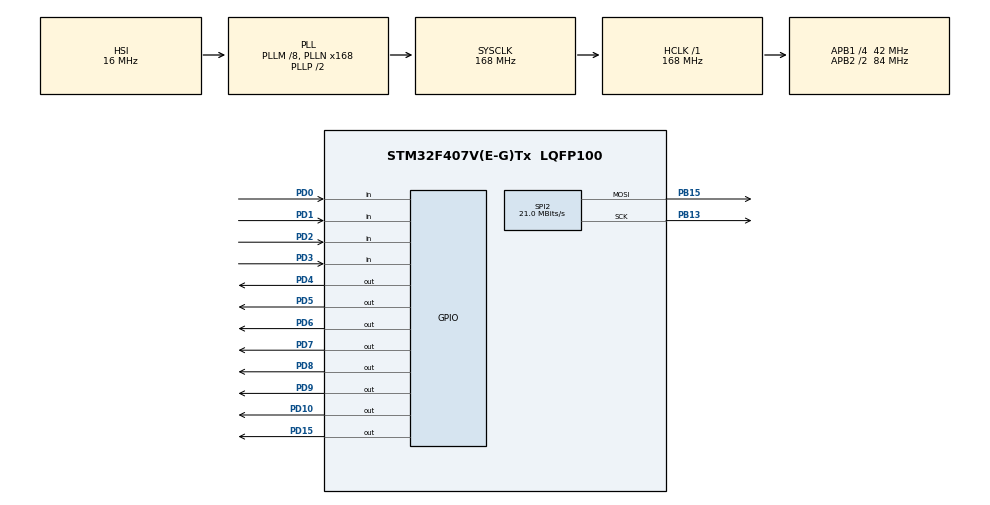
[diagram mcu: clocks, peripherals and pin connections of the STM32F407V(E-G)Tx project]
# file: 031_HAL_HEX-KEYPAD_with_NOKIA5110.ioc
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Dma.Request0=SPI2_TX
Dma.SPI2_TX.0.Direction=DMA_MEMORY_TO_PERIPH
Dma.SPI2_TX.0.FIFOMode=DMA_FIFOMODE_DISABLE
Dma.SPI2_TX.0.Instance=DMA1_Stream4
Dma.SPI2_TX.0.MemDataAlignment=DMA_MDATAALIGN_BYTE
Dma.SPI2_TX.0.MemInc=DMA_MINC_ENABLE
Dma.SPI2_TX.0.Mode=DMA_NORMAL
Dma.SPI2_TX.0.PeriphDataAlignment=DMA_PDATAALIGN_BYTE
Dma.SPI2_TX.0.PeriphInc=DMA_PINC_DISABLE
Dma.SPI2_TX.0.Priority=DMA_PRIORITY_LOW
Mcu.Family=STM32F4
Mcu.Name=STM32F407V(E-G)Tx
Mcu.Package=LQFP100
NVIC.DMA1_Stream4_IRQn=true\:0\:0\:false\:false\:true\:false\:true\:true
NVIC.PriorityGroup=NVIC_PRIORITYGROUP_0
PB13.Mode=TX_Only_Simplex_Unidirect_Master
PB13.Signal=SPI2_SCK
PB15.Mode=TX_Only_Simplex_Unidirect_Master
PB15.Signal=SPI2_MOSI
PD0.Signal=GPIO_Input
PD1.Signal=GPIO_Input
PD10.Signal=GPIO_Output
PD15.Signal=GPIO_Output
PD2.Signal=GPIO_Input
PD3.Signal=GPIO_Input
PD4.Signal=GPIO_Output
PD5.Signal=GPIO_Output
PD6.Signal=GPIO_Output
PD7.Signal=GPIO_Output
PD8.Signal=GPIO_Output
PD9.Signal=GPIO_Output
ProjectManager.HeapSize=0x200
ProjectManager.StackSize=0x400
ProjectManager.TargetToolchain=STM32CubeIDE
RCC.48MHZClocksFreq_Value=48000000
RCC.AHBFreq_Value=168000000
RCC.APB1CLKDivider=RCC_HCLK_DIV4
RCC.APB1Freq_Value=42000000
RCC.APB1TimFreq_Value=84000000
RCC.APB2CLKDivider=RCC_HCLK_DIV2
RCC.APB2Freq_Value=84000000
RCC.APB2TimFreq_Value=168000000
RCC.CortexFreq_Value=168000000
RCC.HCLKFreq_Value=168000000
RCC.HSE_VALUE=8000000
RCC.HSI_VALUE=16000000
RCC.LSE_VALUE=32768
RCC.PLLM=8
RCC.PLLN=168
RCC.PLLQ=7
RCC.SYSCLKFreq_VALUE=168000000
RCC.SYSCLKSource=RCC_SYSCLKSOURCE_PLLCLK
RCC.VCOOutputFreq_Value=336000000
SPI2.CalculateBaudRate=21.0 MBits/s
SPI2.Direction=SPI_DIRECTION_2LINES
SPI2.Mode=SPI_MODE_MASTER
SPI2.VirtualType=VM_MASTER
board=STM32F407G-DISC1

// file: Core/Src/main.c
/* USER CODE BEGIN Header */
/**
  ******************************************************************************
  * @file           : main.c
  * @brief          : Main program body
  ******************************************************************************
  * @attention
  *
  * Copyright (c) 2023 STMicroelectronics.
  * All rights reserved.
  *
  * This software is licensed under terms that can be found in the LICENSE file
  * in the root directory of this software component.
  * If no LICENSE file comes with this software, it is provided AS-IS.
  *
  ******************************************************************************
  */
/* USER CODE END Header */
#include "main.h"

/* USER CODE BEGIN Includes */
#include "stdbool.h"
#include "nokia5110.h"
#include "keypad4x3.h"
/* USER CODE END Includes */

/* USER CODE BEGIN PD */
#define KEYPAD_IN_PORT   GPIOD
#define KEYPAD_OUT_PORT  GPIOD

#define KEYPAD_IN_PIN_0  GPIO_PIN_0
#define KEYPAD_IN_PIN_1  GPIO_PIN_1
#define KEYPAD_IN_PIN_2  GPIO_PIN_2
#define KEYPAD_IN_PIN_3  GPIO_PIN_3

#define KEYPAD_OUT_PIN_0 GPIO_PIN_4
#define KEYPAD_OUT_PIN_1 GPIO_PIN_5
#define KEYPAD_OUT_PIN_2 GPIO_PIN_6
/* USER CODE END PD */

SPI_HandleTypeDef hspi2;
DMA_HandleTypeDef hdma_spi2_tx;

/* USER CODE BEGIN PV */
Keypad4x3_WiresTypeDef keypadWires;
bool keys[12];
char key1, key2, key3, key4, key5, key6, key7, key8, key9, keyS, key0, keyY;
char correctPassword[] = {2, 3, 4, 5};
char enteredPassword[4] = {0};
int passwordIndex = 0;

uint8_t frameBuff[504];
/* USER CODE END PV */

void SystemClock_Config(void);
static void MX_GPIO_Init(void);
static void MX_DMA_Init(void);
static void MX_SPI2_Init(void);
/* USER CODE BEGIN PFP */
bool checkPassword(char password[]);
/* USER CODE END PFP */

int main(void)
{

  /* MCU Configuration--------------------------------------------------------*/

  /* Reset of all peripherals, Initializes the Flash interface and the Systick. */
  HAL_Init();

  /* Configure the system clock */
  SystemClock_Config();

  /* Initialize all configured peripherals */
  MX_GPIO_Init();
  MX_DMA_Init();
  MX_SPI2_Init();
  /* USER CODE BEGIN 2 */
  keypadWires.IN_Port = KEYPAD_IN_PORT;
  keypadWires.IN_PIN_0 = KEYPAD_IN_PIN_0;
  keypadWires.IN_PIN_1 = KEYPAD_IN_PIN_1;
  keypadWires.IN_PIN_2 = KEYPAD_IN_PIN_2;
  keypadWires.IN_PIN_3 = KEYPAD_IN_PIN_3;

  keypadWires.OUT_Port = KEYPAD_OUT_PORT;
  keypadWires.OUT_PIN_0 = KEYPAD_OUT_PIN_0;
  keypadWires.OUT_PIN_1 = KEYPAD_OUT_PIN_1;
  keypadWires.OUT_PIN_2 = KEYPAD_OUT_PIN_2;

  Keypad4x3_Init(&keypadWires);
  nokia5110_Init();
  HAL_GPIO_WritePin(GPIOD, GPIO_PIN_15, GPIO_PIN_SET);
  bool keys[12] = {false};
  nokia5110_WriteString("password");
  nokia5110_Update();
  /* USER CODE END 2 */

  /* Infinite loop */
  while (1)
  {

    /* USER CODE BEGIN 3 */
	  Keypad4x3_ReadKeypad(keys);
	  key1 = keys[0];
	  key2 = keys[4];
	  key3 = keys[8];
	  key4 = keys[2];
	  key5 = keys[6];
	  key6 = keys[10];
	  key7 = keys[1];
	  key8 = keys[5];
	  key9 = keys[9];
	  keyY = keys[3];
	  key0 = keys[7];
	  keyS = keys[11];

	  char Keys[12] ={key1,key2,key3,key4,key5,key6,key7,key8,key9,keyY,key0,keyS};

	    if (Keys[0] || Keys[1] || Keys[2] || Keys[3] || Keys[4] || Keys[5] ||
	        Keys[6] || Keys[7] || Keys[8] || Keys[9] || Keys[10] || Keys[11])
	    {

	      for (int i = 0; i < 12; i++)
	      {
	        if (Keys[i])
	        {
	          enteredPassword[passwordIndex] = i + 1; // +1 because the keypad numbers start from 1
	          passwordIndex += 1;
	          break;
	        }
	      }

	      if (passwordIndex > 0 && passwordIndex < 4)
	             {
	                 char passwordString[5]; // Şifre 4 basamaklı ve son karakter için '\0' gerekiyor
	                 for (int i = 0; i < passwordIndex; i++)
	                 {
	                     passwordString[i] = enteredPassword[i] + '0'; // Karakter dizisi olarak dönüştür
	                 }
	                 passwordString[passwordIndex] = '\0'; // Son karakteri '\0' olarak ayarla

	                 displayPassword(passwordString, passwordIndex);

	             }

	      // Check if the full password has been entered
	      if (passwordIndex == 4)
	      {

	        // Check the entered password with the correct password
	        if (checkPassword(enteredPassword))
	        {

	          nokia5110_WriteString("SUCCESS");
	        }
	        else
	        {

	          nokia5110_WriteString("FAIL");
	        }

	        nokia5110_Update(); // Update the LCD screen
	        HAL_Delay(2000); // Wait for a short duration before resetting the password entry
	        passwordIndex = 0; // Reset the password entry for the next attempt
	        nokia5110_Clear(); // Clear the LCD screen after displaying the result
	        HAL_Delay(5000);
	        nokia5110_Update();
	      }
	    }
  }

  /* USER CODE END 3 */
}

void SystemClock_Config(void)
{
  RCC_OscInitTypeDef RCC_OscInitStruct = {0};
  RCC_ClkInitTypeDef RCC_ClkInitStruct = {0};

  /** Configure the main internal regulator output voltage
  */
  __HAL_RCC_PWR_CLK_ENABLE();
  __HAL_PWR_VOLTAGESCALING_CONFIG(PWR_REGULATOR_VOLTAGE_SCALE1);

  /** Initializes the RCC Oscillators according to the specified parameters
  * in the RCC_OscInitTypeDef structure.
  */
  RCC_OscInitStruct.OscillatorType = RCC_OSCILLATORTYPE_HSI;
  RCC_OscInitStruct.HSIState = RCC_HSI_ON;
  RCC_OscInitStruct.HSICalibrationValue = RCC_HSICALIBRATION_DEFAULT;
  RCC_OscInitStruct.PLL.PLLState = RCC_PLL_ON;
  RCC_OscInitStruct.PLL.PLLSource = RCC_PLLSOURCE_HSI;
  RCC_OscInitStruct.PLL.PLLM = 8;
  RCC_OscInitStruct.PLL.PLLN = 168;
  RCC_OscInitStruct.PLL.PLLP = RCC_PLLP_DIV2;
  RCC_OscInitStruct.PLL.PLLQ = 7;
  if (HAL_RCC_OscConfig(&RCC_OscInitStruct) != HAL_OK)
  {
    Error_Handler();
  }

  /** Initializes the CPU, AHB and APB buses clocks
  */
  RCC_ClkInitStruct.ClockType = RCC_CLOCKTYPE_HCLK|RCC_CLOCKTYPE_SYSCLK
                              |RCC_CLOCKTYPE_PCLK1|RCC_CLOCKTYPE_PCLK2;
  RCC_ClkInitStruct.SYSCLKSource = RCC_SYSCLKSOURCE_PLLCLK;
  RCC_ClkInitStruct.AHBCLKDivider = RCC_SYSCLK_DIV1;
  RCC_ClkInitStruct.APB1CLKDivider = RCC_HCLK_DIV4;
  RCC_ClkInitStruct.APB2CLKDivider = RCC_HCLK_DIV2;

  if (HAL_RCC_ClockConfig(&RCC_ClkInitStruct, FLASH_LATENCY_5) != HAL_OK)
  {
    Error_Handler();
  }
}

static void MX_SPI2_Init(void)
{

  /* SPI2 parameter configuration*/
  hspi2.Instance = SPI2;
  hspi2.Init.Mode = SPI_MODE_MASTER;
  hspi2.Init.Direction = SPI_DIRECTION_2LINES;
  hspi2.Init.DataSize = SPI_DATASIZE_8BIT;
  hspi2.Init.CLKPolarity = SPI_POLARITY_LOW;
  hspi2.Init.CLKPhase = SPI_PHASE_1EDGE;
  hspi2.Init.NSS = SPI_NSS_SOFT;
  hspi2.Init.BaudRatePrescaler = SPI_BAUDRATEPRESCALER_2;
  hspi2.Init.FirstBit = SPI_FIRSTBIT_MSB;
  hspi2.Init.TIMode = SPI_TIMODE_DISABLE;
  hspi2.Init.CRCCalculation = SPI_CRCCALCULATION_DISABLE;
  hspi2.Init.CRCPolynomial = 10;
  if (HAL_SPI_Init(&hspi2) != HAL_OK)
  {
    Error_Handler();
  }

}

static void MX_DMA_Init(void)
{

  /* DMA controller clock enable */
  __HAL_RCC_DMA1_CLK_ENABLE();

  /* DMA interrupt init */
  /* DMA1_Stream4_IRQn interrupt configuration */
  HAL_NVIC_SetPriority(DMA1_Stream4_IRQn, 0, 0);
  HAL_NVIC_EnableIRQ(DMA1_Stream4_IRQn);

}

static void MX_GPIO_Init(void)
{
  GPIO_InitTypeDef GPIO_InitStruct = {0};

  /* GPIO Ports Clock Enable */
  __HAL_RCC_GPIOB_CLK_ENABLE();
  __HAL_RCC_GPIOD_CLK_ENABLE();

  /*Configure GPIO pin Output Level */
  HAL_GPIO_WritePin(GPIOD, GPIO_PIN_8|GPIO_PIN_9|GPIO_PIN_10|GPIO_PIN_15
                          |GPIO_PIN_4|GPIO_PIN_5|GPIO_PIN_6|GPIO_PIN_7, GPIO_PIN_RESET);

  /*Configure GPIO pins : PD8 PD9 PD10 PD15
                           PD4 PD5 PD6 PD7 */
  GPIO_InitStruct.Pin = GPIO_PIN_8|GPIO_PIN_9|GPIO_PIN_10|GPIO_PIN_15
                          |GPIO_PIN_4|GPIO_PIN_5|GPIO_PIN_6|GPIO_PIN_7;
  GPIO_InitStruct.Mode = GPIO_MODE_OUTPUT_PP;
  GPIO_InitStruct.Pull = GPIO_NOPULL;
  GPIO_InitStruct.Speed = GPIO_SPEED_FREQ_LOW;
  HAL_GPIO_Init(GPIOD, &GPIO_InitStruct);

  /*Configure GPIO pins : PD0 PD1 PD2 PD3 */
  GPIO_InitStruct.Pin = GPIO_PIN_0|GPIO_PIN_1|GPIO_PIN_2|GPIO_PIN_3;
  GPIO_InitStruct.Mode = GPIO_MODE_INPUT;
  GPIO_InitStruct.Pull = GPIO_NOPULL;
  HAL_GPIO_Init(GPIOD, &GPIO_InitStruct);

}

/* USER CODE BEGIN 4 */
bool checkPassword(char password[]) {
    uint8_t correctPassword[] = {2, 3, 4, 5};

    for (int i = 0; i < 4; i++) {
        if (password[i] != correctPassword[i]) {
            return false;
        }
    }

    return true;
}

void displayPassword(char password[], int length)
{
    // Şifreyi ekrana yazdır
    nokia5110_Clear(); // Ekrana temizle
    nokia5110_WriteString(password); // Şifreyi yazdır
    nokia5110_Update(); // Ekrana yazılanları güncelle
    HAL_Delay(1000);
    nokia5110_Clear();
    nokia5110_Update();
}

/* USER CODE END 4 */

void Error_Handler(void)
{
  __disable_irq();
  while (1)
  {
  }
}
